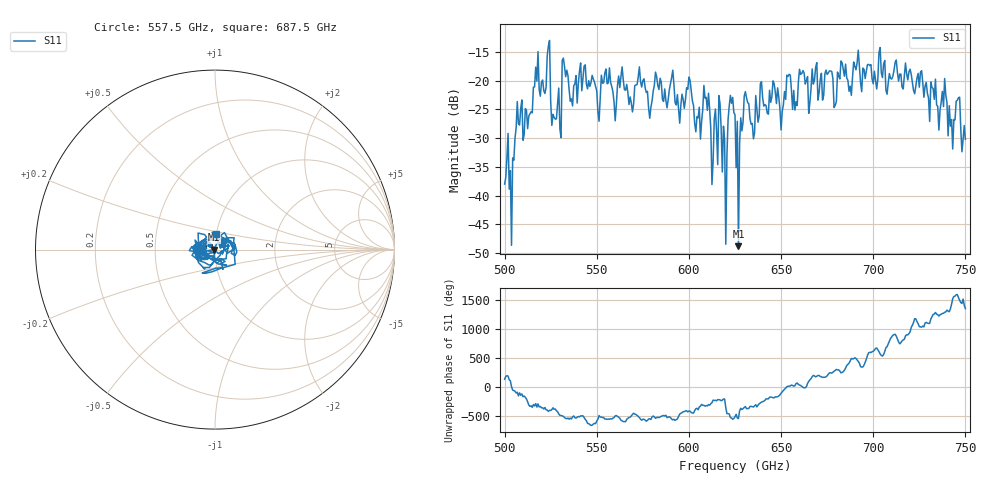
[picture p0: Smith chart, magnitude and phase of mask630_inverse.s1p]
!Created with skrf (http://scikit-rf.org).
# GHz S MA R 50.0
!freq magS11 angS11
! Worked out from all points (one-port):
!   401 points, 500 GHz to 750 GHz, reference 50 ohm
!   lowest |S11| = -48.8 dB at 626.9 GHz (marker M1), VSWR 1.01, Z = 49.6 + j0.0205 ohm
!   |S11| at or under -10 dB: start of sweep to end of sweep
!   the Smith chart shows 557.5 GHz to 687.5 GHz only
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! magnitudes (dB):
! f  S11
! 500 GHz  -38.0
! 503.8 GHz  -48.7
! 508.1 GHz  -27.7
! 513.8 GHz  -25.8
! 516.9 GHz  -17.7
! 523.8 GHz  -14.0
! 526.9 GHz  -26.4
! 531.2 GHz  -16.5
! 532.5 GHz  -17.5
! 562.5 GHz  -21.2
! 593.8 GHz  -22.4
! 609.4 GHz  -22.9
! 612.5 GHz  -38.1
! 617.5 GHz  -28.4
! 619.4 GHz  -30.3
! 622.5 GHz  -22.6
! 625 GHz  -25.9
! 626.9 GHz  -48.8
! 631.2 GHz  -23.0
! 634.4 GHz  -27.5
! 640 GHz  -23.0
! 656.2 GHz  -25.0
! 687.5 GHz  -21.0
! 718.8 GHz  -19.9
! 738.8 GHz  -19.6
! 741.9 GHz  -27.9
! 745.6 GHz  -23.4
! 750 GHz  -30.2
